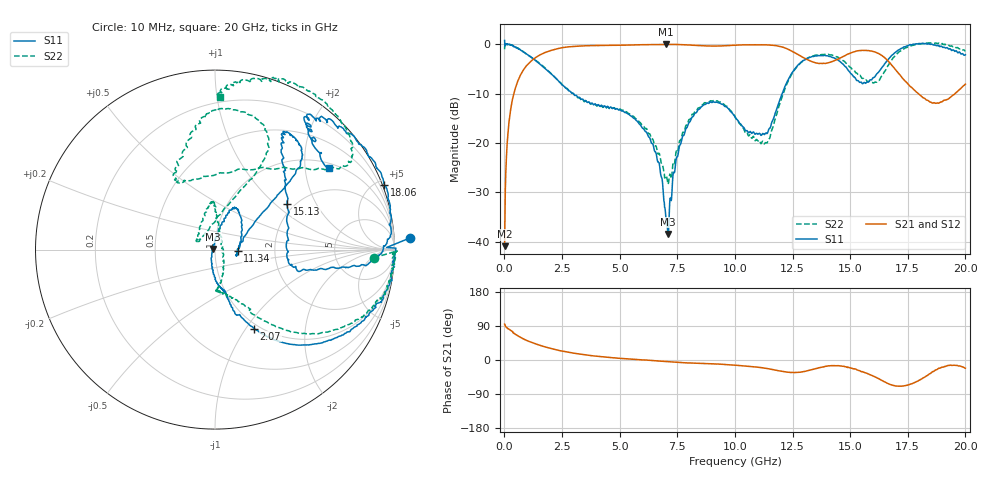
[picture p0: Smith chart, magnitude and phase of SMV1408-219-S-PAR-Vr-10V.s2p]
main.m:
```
% File: main_ris_cocross_from_s2p.m
% Dual-pol RIS: build Zs from geometry + measured varactor S2P,
% compute reflectivity matrix R, and plot two traces (co, cross)
% for magnitude (dB) and phase (deg).

clear; clc;

%% ---- USER: point to the varactor S2P files ----
file_x_10V = 'SMV1408-219-S-PAR-Vr-10V.s2p';   % x-branch (reverse 10 V)
file_y_0V  = 'SMV1408-219-S-PAR-Vr-0V.s2p';    % y-branch (reverse 0 V)

assert(exist(file_x_10V,'file')==2, 'Missing S2P: %s', file_x_10V);
assert(exist(file_y_0V, 'file')==2, 'Missing S2P: %s', file_y_0V);

%% ---- Physical constants, materials, geometry (as in your topology code) ----
mu0   = 4*pi*1e-7;
eps0  = 8.854187817e-12;
eta0  = sqrt(mu0/eps0);

er    = 2.2;          % F4B220
tand  = 1e-3;
h     = 2e-3;
sigma_cu = 5.8e7;

% Parasitic patches (per axis)
Lp_x  = 4.0e-3;  Wp_x  = 3.0e-3;
Lp_y  = 4.0e-3;  Wp_y  = 3.0e-3;

% Gap / grid geometry
g        = 0.50e-3;
wedge_x  = 6.0e-3;  wedge_y  = 6.0e-3;
Ledge_x  = 6.0e-3;  Ledge_y  = 6.0e-3;

% Via / loop return
d_via   = 0.60e-3;
lcur_x  = 6.0e-3;  wcur_x  = 1.0e-3;
lcur_y  = 6.0e-3;  wcur_y  = 1.0e-3;

% ---- Cross-pol coupling: DO NOT neglect ----
% Use CPW form to estimate mutual capacitance Cm from geometry (gd,wd,Ld)
gd   = 1.0e-3; wd = 2.0e-3; Ld = 6.0e-3;   % set from your layout
eeff_d = hammerEffectivePermittivity(er, h, wd);
Kfun = @(k) ellipke(k.^2);
kd  = gd./(gd + 2*wd);  kpd = sqrt(1 - kd.^2);
Ccpd = 4*eps0*eeff_d * (Kfun(kd)/Kfun(kpd));   % per-unit-length
Cm   = Ccpd * Ld;                               % mutual C (non-zero)

% Parasitic & grid shunt caps per axis (Hammerstad + CPW)
eeff_x = hammerEffectivePermittivity(er, h, Wp_x);
eeff_y = hammerEffectivePermittivity(er, h, Wp_y);
dL_x   = hammerDeltaL(eeff_x, h, Wp_x);
dL_y   = hammerDeltaL(eeff_y, h, Wp_y);
Ap_eff_x = (Lp_x + 2*dL_x) * (Wp_x + 2*dL_x);
Ap_eff_y = (Lp_y + 2*dL_y) * (Wp_y + 2*dL_y);
Cp_x     = eps0*eeff_x * Ap_eff_x / h;
Cp_y     = eps0*eeff_y * Ap_eff_y / h;

Ccp_x = cpwCprime(eps0, eeff_x, wedge_x, g);
Ccp_y = cpwCprime(eps0, eeff_y, wedge_y, g);
Cg_x  = Ccp_x * Ledge_x;
Cg_y  = Ccp_y * Ledge_y;

%% ---- Frequency sweep (match your plotting template semantics) ----
fvec = linspace(3.2e9, 3.8e9, 401);   % Hz
wvec = 2*pi*fvec;

%% ---- Varactor SERIES impedance from S2P ONLY (no datasheet Ls/ESR) ----
Zvar_x = loadVaractorZseries(file_x_10V, fvec);   % x-branch (10 V)
Zvar_y = loadVaractorZseries(file_y_0V,  fvec);   % y-branch ( 0 V)

%% ---- Build per-axis surface impedances and cross terms ----
Zxx = computeZaxis(fvec, Zvar_x, struct('er',er,'tand',tand,'h',h,'sigma',sigma_cu), ...
    struct('Lp',Lp_x,'Wp',Wp_x,'Ledge',Ledge_x,'wedge',wedge_x,'lcur',lcur_x,'wcur',wcur_x,'d_via',d_via,'g',g,'Cp',Cp_x,'Cg',Cg_x));
Zyy = computeZaxis(fvec, Zvar_y, struct('er',er,'tand',tand,'h',h,'sigma',sigma_cu), ...
    struct('Lp',Lp_y,'Wp',Wp_y,'Ledge',Ledge_y,'wedge',wedge_y,'lcur',lcur_y,'wcur',wcur_y,'d_via',d_via,'g',g,'Cp',Cp_y,'Cg',Cg_y));

Zxy = 1 ./ (1i*wvec*Cm);     % cross-polar branch from mutual C
Zyx = Zxy;                   % reciprocity at broadside

%% ---- Reflectivity matrix entries (broadside) ----
eta1 = eta0; eta2 = eta0;
[Rxx,Rxy,Ryx,Ryy] = reflectivityFromZs(fvec, Zxx, Zyy, Zxy, Zyx, eta1, eta2);

%% ---- Reduce to two traces: co & cross (use 'avg' across x/y) ----
[co_mag_db, xpol_mag_db, co_phase_deg, xpol_phase_deg] = ...
    computeCoCross(fvec, Rxx, Rxy, Ryx, Ryy, 'avg');

%% ---- Figure 1: Magnitude (dB) ----
plotMagnitudeCoCross(fvec, co_mag_db, xpol_mag_db, ...
    'Co/Cross Reflectivity (V_x=10V S2P, V_y=0V S2P)', ...
    [3.2 3.8], [-10 1]);

%% ---- Figure 2: Phase (degrees) ----
plotPhaseCoCross(fvec, co_phase_deg, xpol_phase_deg, ...
    'Co/Cross Phase (V_x=10V S2P, V_y=0V S2P)', ...
    [3.2 3.8], [-360 0]);
```
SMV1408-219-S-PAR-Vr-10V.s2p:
! Skyworks SMV1408-219 De-embedded S-Parameter Data
! Created  11-5-2013
! 2 Port Network Data
! Mounted on Board # SK41159-3 Rev 1 in Series, Cathode is connected to RF1 as Input( Pin 1) and Anode is connected RF2 as Output(Pin 2)
! Temperature = +25 °C
! RF traces and connectors are de-embedded using TRL calibration and standards
! Reference planes are package pins
! Pin 1 Input port (S-Port1), Pin 2 Output port (S-port2)
! Pin = 0 dBm, Bias: Vr = 10V
! Dev # 1
#  HZ  S  DB  R  50.00
! Rohde & Schwarz ZVA24 4Ports - Version 2.90 - 1145.1110k26 SN: 100216
! Date: 2013-11-05 15:27:27
! Measurements: S11 S21 S12 S22
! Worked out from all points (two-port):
!   2000 points, 10 MHz to 20 GHz, reference 50 ohm
!   highest |S21| = -0.06 dB at 7.01 GHz (marker M1); lowest = -40.9 dB at 10 MHz (marker M2)
!   |S21| within 3 dB of the highest: 1.254 GHz to 13.11 GHz (11.85 GHz wide, 165 % of centre); 14.47 GHz to 16.57 GHz (2.099 GHz wide, 13.5 % of centre)
!   lowest |S11| = -38.4 dB at 7.1 GHz (marker M3), VSWR 1.02, Z = 48.9 + j0.414 ohm
!   |S11| at or under -10 dB: 2.993 GHz to 12.06 GHz (9.063 GHz wide, 120 % of centre)
!   |S22| runs from -28.3 to 0.2 dB; largest |S21 - S12| = 0.034
!   S11 on the Smith chart (normalised r, x): 10 MHz: -16, +11; 2.07 GHz: 0.94, -1.09; 11.34 GHz: 1.29, -0.02; 15.13 GHz: 1.83, +1.20; 18.06 GHz: -0.14, +5.42; 20 GHz: 1.15, +2.68
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1e7  0.74 3.4  -40.87 94.7  -41.14 92.2  -1.06 -3.0
4.6e8  -0.61 -22.0  -9.20 68.5  -9.20 68.7  -0.52 -19.3
2.07e9  -6.18 -63.7  -1.21 29.6  -1.22 29.7  -6.18 -54.8
7.01e9  -35.43 -158.6  -0.06 -3.9  -0.08 -3.9  -26.70 -9.0
7.1e9  -38.40 159.4  -0.07 -4.4  -0.08 -4.4  -28.35 8.4
8.19e9  -14.63 71.6  -0.23 -8.1  -0.25 -8.5  -14.18 89.7
1.001e10  -14.74 35.1  -0.22 -13.6  -0.23 -13.6  -14.75 111.8
1.134e10  -17.99 -4.3  -0.15 -22.0  -0.16 -21.6  -19.94 133.4
1.513e10  -6.46 32.4  -1.60 -22.9  -1.61 -22.4  -5.25 109.4
1.806e10  0.08 20.9  -10.38 -51.5  -10.38 -51.3  0.09 47.5
2e10  -2.15 35.6  -8.10 -21.7  -8.10 -21.2  -1.40 88.3
